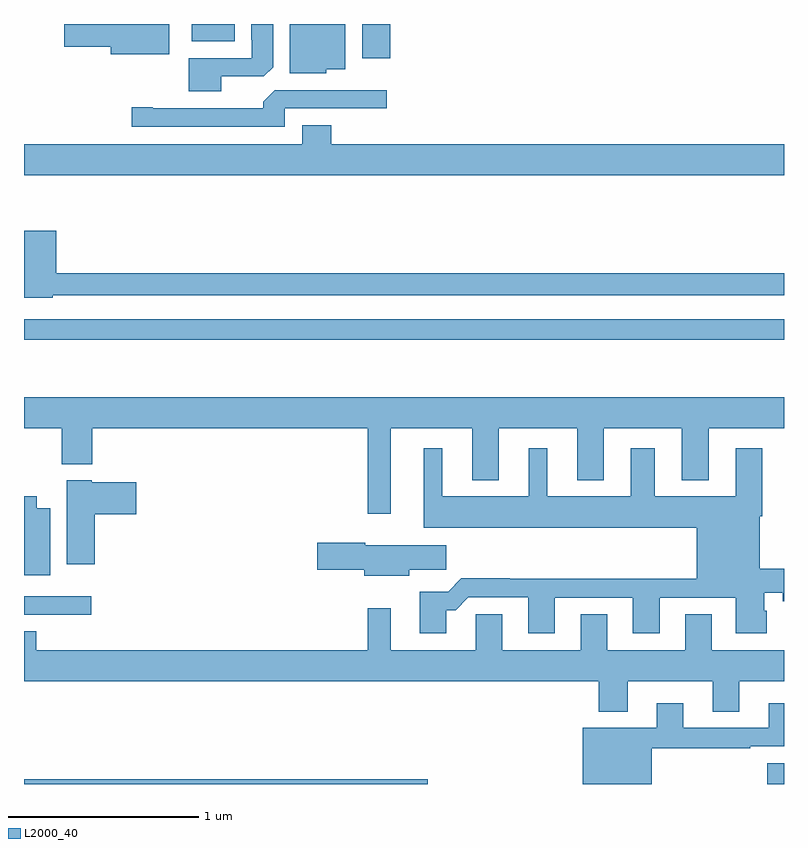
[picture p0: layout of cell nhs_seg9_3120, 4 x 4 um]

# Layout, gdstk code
import gdstk
lib = gdstk.Library(unit=1e-6, precision=1e-09)
def R(c, l, rs):  # rectangles x0, y0, x1, y1
    for r in rs: c.add(gdstk.rectangle(r[:2], r[2:], *l))
def P(c, l, *ps):  # polygons
    for p in ps: c.add(gdstk.Polygon(p, *l))
L2000_40 = (2000, 40)

nhs_seg9_3120 = lib.new_cell('nhs_seg9_3120')
R(nhs_seg9_3120, L2000_40, [(289,1242.5,291.124,1242.524), (292.911,1242.5,293,1242.61), (289,1243.392,289.354,1243.488), (289,1244.838,293,1244.946), (290.78,1246.32,290.927,1246.5), (289.883,1246.409,290.11,1246.5)])
P(nhs_seg9_3120, L2000_40, [(290.592,1246.262),(290.692,1246.262),(290.692,1246.5),(290.399,1246.5),(290.399,1246.241),(290.592,1246.241)],
  [(290.038,1246.224),(290.262,1246.224),(290.311,1246.273),(290.311,1246.5),(290.195,1246.5),(290.195,1246.417),(290.199,1246.417),(290.199,1246.32),(289.868,1246.32),(289.868,1246.145),(290.038,1246.145)],
  [(289.765,1246.5),(289.212,1246.5),(289.212,1246.379),(289.457,1246.379),(289.457,1246.34),(289.765,1246.34)],
  [(290.373,1246.056),(290.908,1246.056),(290.908,1246.152),(290.319,1246.152),(290.258,1246.09),(290.258,1246.056),(289.678,1246.056),(289.678,1246.061),(289.566,1246.061),(289.566,1245.96),(290.373,1245.96)],
  [(293,1245.868),(290.618,1245.868),(290.618,1245.967),(290.465,1245.967),(290.465,1245.868),(289,1245.868),(289,1245.704),(293,1245.704)],
  [(289.152,1245.072),(293,1245.072),(293,1245.188),(289.169,1245.188),(289.169,1245.412),(289,1245.412),(289,1245.059),(289.152,1245.059)],
  [(289,1244.372),(289.198,1244.372),(289.198,1244.183),(289.358,1244.183),(289.358,1244.372),(290.808,1244.372),(290.808,1243.923),(290.929,1243.923),(290.929,1244.372),(291.359,1244.372),(291.359,1244.099),(291.499,1244.099),(291.499,1244.372),(291.911,1244.372),(291.911,1244.099),(292.051,1244.099),(292.051,1244.372),(292.463,1244.372),(292.463,1244.099),(292.603,1244.099),(292.603,1244.372),(293,1244.372),(293,1244.536),(289,1244.536)],
  [(291.223,1243.415),(291.272,1243.415),(291.339,1243.482),(291.653,1243.482),(291.653,1243.293),(291.793,1243.293),(291.793,1243.479),(292.205,1243.479),(292.205,1243.293),(292.345,1243.293),(292.345,1243.479),(292.745,1243.479),(292.745,1243.293),(292.91,1243.293),(292.91,1243.413),(292.897,1243.413),(292.897,1243.506),(292.994,1243.506),(292.994,1243.463),(293,1243.463),(293,1243.634),(292.873,1243.634),(292.873,1243.91),(292.886,1243.91),(292.886,1244.266),(292.745,1244.266),(292.745,1244.014),(292.321,1244.014),(292.321,1244.266),(292.193,1244.266),(292.193,1244.014),(291.754,1244.014),(291.754,1244.266),(291.656,1244.266),(291.656,1244.014),(291.202,1244.014),(291.202,1244.266),(291.104,1244.266),(291.104,1243.85),(292.541,1243.85),(292.541,1243.58),(291.557,1243.58),(291.557,1243.583),(291.302,1243.583),(291.232,1243.513),(291.083,1243.513),(291.083,1243.293),(291.223,1243.293)],
  [(289.373,1243.919),(289.591,1243.919),(289.591,1244.089),(289.356,1244.089),(289.356,1244.098),(289.226,1244.098),(289.226,1243.656),(289.373,1243.656)],
  [(289.138,1243.951),(289.066,1243.951),(289.066,1244.014),(289,1244.014),(289,1243.598),(289.138,1243.598)],
  [(291.028,1243.627),(291.223,1243.627),(291.223,1243.756),(290.796,1243.756),(290.796,1243.769),(290.544,1243.769),(290.544,1243.627),(290.792,1243.627),(290.792,1243.595),(291.028,1243.595)],
  [(292.765,1243.04),(293,1243.04),(293,1243.204),(292.621,1243.204),(292.621,1243.394),(292.481,1243.394),(292.481,1243.204),(292.069,1243.204),(292.069,1243.394),(291.929,1243.394),(291.929,1243.204),(291.517,1243.204),(291.517,1243.394),(291.378,1243.394),(291.378,1243.204),(290.929,1243.204),(290.929,1243.426),(290.808,1243.426),(290.808,1243.204),(289.064,1243.204),(289.064,1243.303),(289,1243.303),(289,1243.04),(292.025,1243.04),(292.025,1242.881),(292.177,1242.881),(292.177,1243.04),(292.625,1243.04),(292.625,1242.88),(292.765,1242.88)],
  [(292.303,1242.687),(292.823,1242.687),(292.823,1242.699),(293,1242.699),(293,1242.925),(292.919,1242.925),(292.919,1242.795),(292.471,1242.795),(292.471,1242.925),(292.331,1242.925),(292.331,1242.796),(291.941,1242.796),(291.941,1242.5),(292.303,1242.5)])

lib.write_gds('nhs_seg9_3120.gds')
